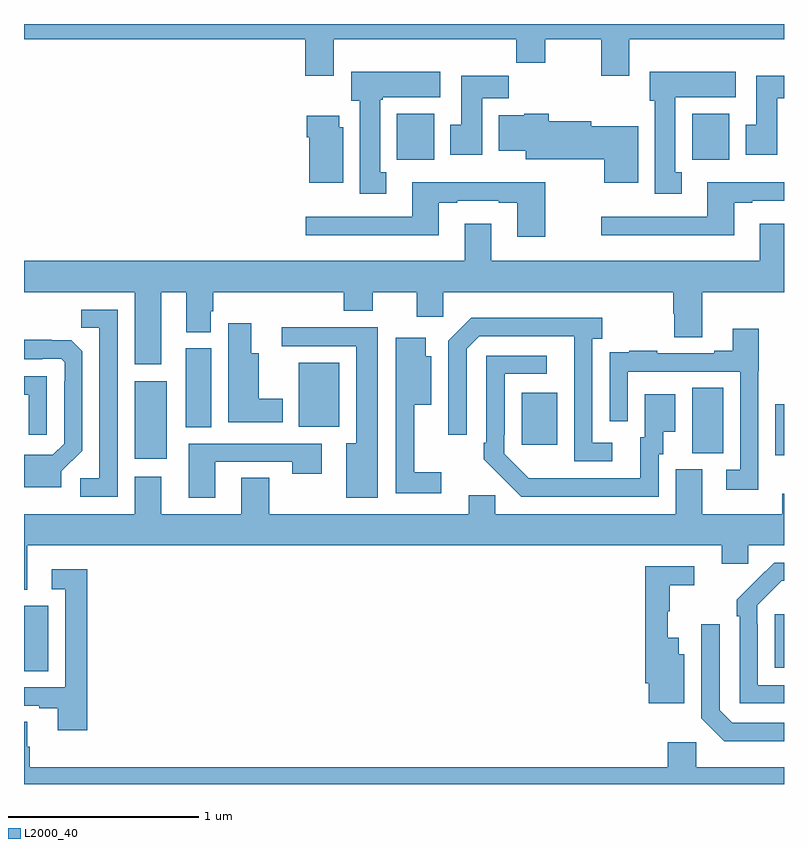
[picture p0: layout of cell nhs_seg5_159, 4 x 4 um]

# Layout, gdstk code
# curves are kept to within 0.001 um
import gdstk
lib = gdstk.Library(unit=1e-6, precision=1e-09)
def R(c, l, rs):  # rectangles x0, y0, x1, y1
    for r in rs: c.add(gdstk.rectangle(r[:2], r[2:], *l))
def P(c, l, *ps):  # polygons
    for p in ps: c.add(gdstk.Polygon(p, *l))
L2000_40 = (2000, 40)

nhs_seg5_159 = lib.new_cell('nhs_seg5_159')
R(nhs_seg5_159, L2000_40, [(119,893.392,119.128,893.736), (122.951,893.411,123,893.692), (119.582,894.51,119.752,894.919), (122.954,894.53,123,894.799), (122.516,894.541,122.68,894.884), (121.619,894.585,121.807,894.859), (119.852,894.676,119.986,895.092), (120.446,894.68,120.658,895.015), (120.962,896.084,121.159,896.326), (122.516,896.084,122.713,896.326)])
P(nhs_seg5_159, L2000_40, [(120.631,896.72),(121.591,896.72),(121.591,896.596),(121.743,896.596),(121.743,896.72),(122.038,896.72),(122.038,896.526),(122.185,896.526),(122.185,896.72),(123,896.72),(123,896.799),(119,896.799),(119,896.72),(120.479,896.72),(120.479,896.526),(120.631,896.526)],
  [(122.461,896.018),(122.428,896.018),(122.428,896.414),(122.746,896.414),(122.746,896.548),(122.294,896.548),(122.294,896.394),(122.321,896.394),(122.321,895.905),(122.461,895.905)],
  [(120.907,896.018),(120.874,896.018),(120.874,896.401),(120.888,896.401),(120.888,896.414),(121.192,896.414),(121.192,896.548),(120.722,896.548),(120.722,896.394),(120.767,896.394),(120.767,895.905),(120.907,895.905)],
  [(121.411,896.408),(121.55,896.408),(121.55,896.527),(121.301,896.527),(121.301,896.268),(121.244,896.268),(121.244,896.112),(121.411,896.112)],
  [(122.965,896.408),(123,896.408),(123,896.527),(122.855,896.527),(122.855,896.268),(122.798,896.268),(122.798,896.112),(122.965,896.112)],
  [(122.233,896.26),(121.986,896.26),(121.986,896.287),(121.763,896.287),(121.763,896.326),(121.632,896.326),(121.632,896.32),(121.499,896.32),(121.499,896.132),(121.64,896.132),(121.64,896.087),(122.054,896.087),(122.054,895.964),(122.233,895.964)],
  [(120.679,896.256),(120.658,896.256),(120.658,896.317),(120.488,896.317),(120.488,896.204),(120.5,896.204),(120.5,895.964),(120.679,895.964)],
  [(121.743,895.966),(121.043,895.966),(121.043,895.785),(120.483,895.785),(120.483,895.688),(121.183,895.688),(121.183,895.857),(121.279,895.857),(121.279,895.869),(121.499,895.869),(121.499,895.857),(121.595,895.857),(121.595,895.68),(121.743,895.68)],
  [(122.737,895.857),(122.833,895.857),(122.833,895.869),(123,895.869),(123,895.966),(122.597,895.966),(122.597,895.785),(122.037,895.785),(122.037,895.688),(122.737,895.688)],
  [(119.722,895.388),(119.855,895.388),(119.855,895.177),(119.983,895.177),(119.983,895.287),(119.996,895.287),(119.996,895.388),(120.683,895.388),(120.683,895.289),(120.835,895.289),(120.835,895.388),(121.067,895.388),(121.067,895.257),(121.206,895.257),(121.206,895.388),(122.417,895.388),(122.417,895.275),(122.422,895.275),(122.422,895.15),(122.569,895.15),(122.569,895.388),(123,895.388),(123,895.747),(122.873,895.747),(122.873,895.552),(121.459,895.552),(121.459,895.747),(121.319,895.747),(121.319,895.552),(119,895.552),(119,895.388),(119.582,895.388),(119.582,895.008),(119.722,895.008)],
  [(119.493,895.296),(119.302,895.296),(119.302,895.201),(119.397,895.201),(119.397,894.408),(119.295,894.408),(119.295,894.312),(119.493,894.312)],
  [(122.095,894.594),(121.992,894.594),(121.992,895.142),(122.044,895.142),(122.044,895.252),(121.354,895.252),(121.233,895.131),(121.233,894.636),(121.329,894.636),(121.329,895.089),(121.395,895.155),(121.895,895.155),(121.896,894.498),(122.095,894.498)],
  [(120.361,894.826),(120.235,894.826),(120.235,895.066),(120.196,895.066),(120.196,895.225),(120.074,895.225),(120.074,894.704),(120.361,894.704)],
  [(120.862,895.202),(120.357,895.202),(120.357,895.104),(120.749,895.104),(120.749,894.592),(120.695,894.592),(120.695,894.306),(120.862,894.306)],
  [(122.865,894.972),(122.866,894.972),(122.866,895.195),(122.729,895.195),(122.729,895.078),(122.633,895.078),(122.633,895.065),(122.333,895.065),(122.333,895.078),(122.185,895.078),(122.185,895.071),(122.083,895.071),(122.083,894.962),(122.082,894.962),(122.082,894.708),(122.178,894.708),(122.178,894.969),(122.769,894.969),(122.769,894.453),(122.697,894.453),(122.697,894.348),(122.865,894.348)],
  [(121.195,894.439),(121.055,894.439),(121.055,894.794),(121.144,894.794),(121.144,895.051),(121.114,895.051),(121.114,895.147),(120.956,895.147),(120.956,894.898),(120.957,894.898),(120.957,894.33),(121.195,894.33)],
  [(119.197,894.444),(119.307,894.554),(119.307,895.076),(119.248,895.135),(119,895.136),(119,895.035),(119.096,895.035),(119.096,895.038),(119.196,895.038),(119.214,895.02),(119.214,894.92),(119.211,894.92),(119.211,894.591),(119.151,894.531),(119,894.532),(119,894.362),(119.197,894.362)],
  [(122.34,894.534),(122.365,894.534),(122.365,894.653),(122.428,894.653),(122.428,894.85),(122.267,894.85),(122.267,894.624),(122.243,894.624),(122.243,894.408),(121.656,894.409),(121.527,894.537),(121.527,894.637),(121.53,894.637),(121.53,894.957),(121.75,894.957),(121.75,895.053),(121.434,895.053),(121.434,894.595),(121.419,894.595),(121.419,894.507),(121.616,894.312),(122.34,894.312)],
  [(119.121,894.945),(119,894.945),(119,894.849),(119.025,894.849),(119.025,894.636),(119.121,894.636)],
  [(120.007,894.495),(120.412,894.495),(120.412,894.432),(120.568,894.432),(120.568,894.591),(119.867,894.591),(119.867,894.306),(120.007,894.306)],
  [(119.017,894.056),(122.672,894.056),(122.672,893.958),(122.811,893.958),(122.811,894.056),(123,894.056),(123,894.327),(122.991,894.327),(122.991,894.22),(122.569,894.22),(122.569,894.456),(122.429,894.456),(122.429,894.22),(121.479,894.22),(121.479,894.318),(121.34,894.318),(121.34,894.22),(120.291,894.22),(120.291,894.41),(120.143,894.41),(120.143,894.22),(119.722,894.22),(119.722,894.415),(119.582,894.415),(119.582,894.22),(119,894.22),(119,893.821),(119.017,893.821)],
  [(123,893.319),(122.862,893.319),(122.862,893.639),(122.859,893.639),(122.859,893.739),(122.988,893.868),(123,893.868),(123,893.964),(122.948,893.964),(122.751,893.769),(122.751,893.681),(122.766,893.681),(122.766,893.223),(123,893.223)],
  [(122.476,893.482),(122.446,893.482),(122.446,893.569),(122.387,893.569),(122.387,893.709),(122.398,893.709),(122.398,893.845),(122.527,893.845),(122.527,893.946),(122.269,893.946),(122.269,893.329),(122.288,893.329),(122.288,893.225),(122.476,893.225)],
  [(119.333,893.929),(119.145,893.929),(119.145,893.823),(119.217,893.823),(119.217,893.307),(119,893.307),(119,893.211),(119.081,893.211),(119.081,893.199),(119.177,893.199),(119.177,893.082),(119.333,893.082)],
  [(123,893.121),(122.727,893.121),(122.661,893.187),(122.661,893.641),(122.565,893.641),(122.565,893.145),(122.686,893.024),(123,893.024)],
  [(123,892.888),(122.538,892.888),(122.538,893.02),(122.387,893.02),(122.387,892.888),(119.03,892.888),(119.03,892.994),(119.017,892.994),(119.017,893.126),(119,893.126),(119,892.799),(123,892.799)])

lib.write_gds('nhs_seg5_159.gds')
